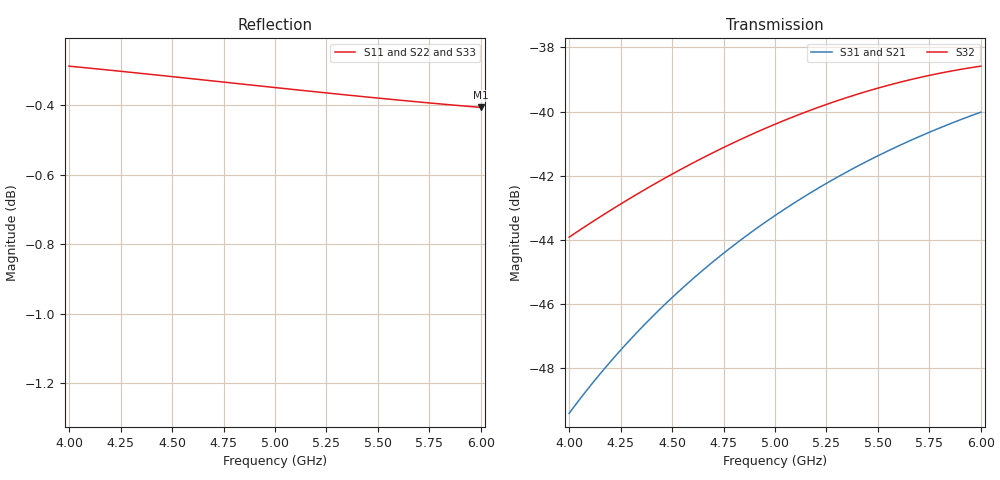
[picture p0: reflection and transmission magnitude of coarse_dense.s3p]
! yapnr rf: divider-osh-w, footprint re-simulated (optimization grid)
! spec sha256 669d225bab5b9cddc49b53759a4b38011ed0340c321c26ede493b4ce416b5fbc
! 3 ports renormalized to 50 ohm, e^(+jwt) convention
# GHz S RI R 50
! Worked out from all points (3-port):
!   81 points, 4 GHz to 6 GHz, reference 50 ohm
!   strongest paths, dB at 4 GHz, 4.5 GHz, 5 GHz, 5.5 GHz, 6 GHz:
!     S32: -43.9, -42.0, -40.4, -39.3, -38.6
!     S31: -49.4, -45.8, -43.2, -41.4, -40.0
!     S21: -49.4, -45.8, -43.2, -41.4, -40.0
!   lowest |S11| = -0.4 dB at 6 GHz (marker M1), VSWR 42.81, Z = 1.58 - j29.8 ohm
!   |S11| at or under -10 dB: nowhere
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4  0.1105 -0.9612  -0.00287 0.000235  -0.00287 0.000235
   -0.00337 0.000302  -0.052 -0.9626  -0.00266 -0.00579
   -0.00337 0.000302  -0.00266 -0.00579  -0.052 -0.9626
4.1  0.0793 -0.9636  -0.00318 0.000407  -0.00318 0.000407
     -0.00369 0.000477  -0.0922 -0.9588  -0.00339 -0.00576
     -0.00369 0.000477  -0.00339 -0.00576  -0.0922 -0.9588
4.225  0.0407 -0.9652  -0.00356 0.000665  -0.00356 0.000665
       -0.00409 0.000739  -0.1422 -0.9517  -0.00433 -0.00561
       -0.00409 0.000739  -0.00433 -0.00561  -0.1422 -0.9517
4.45  -0.028 -0.9641  -0.0042 0.00125  -0.0042 0.00125
      -0.00476 0.00134  -0.2315 -0.9321  -0.00602 -0.00499
      -0.00476 0.00134  -0.00602 -0.00499  -0.2315 -0.9321
4.725  -0.1102 -0.9563  -0.00485 0.00218  -0.00485 0.00218
       -0.00546 0.00228  -0.3382 -0.8965  -0.00793 -0.00361
       -0.00546 0.00228  -0.00793 -0.00361  -0.3382 -0.8965
5  -0.1898 -0.9417  -0.00529 0.0033  -0.00529 0.0033
   -0.00596 0.00345  -0.4409 -0.8482  -0.00942 -0.00162
   -0.00596 0.00345  -0.00942 -0.00162  -0.4409 -0.8482
5.25  -0.2597 -0.9231  -0.00547 0.00445  -0.00547 0.00445
      -0.00617 0.00466  -0.5297 -0.7936  -0.0102 0.000586
      -0.00617 0.00466  -0.0102 0.000586  -0.5297 -0.7936
5.5  -0.327 -0.8997  -0.00539 0.00567  -0.00539 0.00567
     -0.0061 0.00596  -0.6129 -0.7289  -0.0105 0.00298
     -0.0061 0.00596  -0.0105 0.00298  -0.6129 -0.7289
5.75  -0.3915 -0.8719  -0.00503 0.00692  -0.00503 0.00692
      -0.00574 0.0073  -0.6894 -0.6548  -0.01 0.00536
      -0.00574 0.0073  -0.01 0.00536  -0.6894 -0.6548
6  -0.453 -0.84  -0.0044 0.00812  -0.0044 0.00812
   -0.00506 0.0086  -0.7581 -0.5717  -0.00904 0.00754
   -0.00506 0.0086  -0.00904 0.00754  -0.7581 -0.5717
